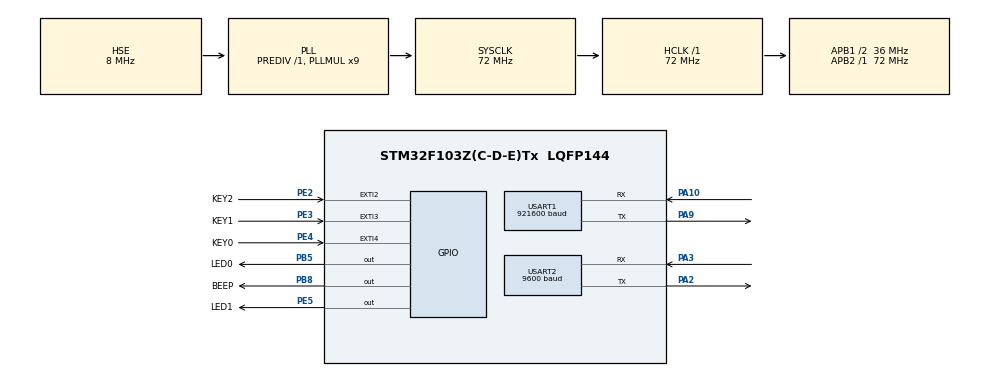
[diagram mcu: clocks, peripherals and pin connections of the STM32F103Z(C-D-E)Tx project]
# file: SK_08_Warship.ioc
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Mcu.Family=STM32F1
Mcu.Name=STM32F103Z(C-D-E)Tx
Mcu.Package=LQFP144
NVIC.EXTI2_IRQn=true\:1\:0\:true\:false\:true\:true\:true\:true
NVIC.EXTI3_IRQn=true\:1\:1\:true\:false\:true\:true\:true\:true
NVIC.EXTI4_IRQn=true\:1\:2\:true\:false\:true\:true\:true\:true
NVIC.PriorityGroup=NVIC_PRIORITYGROUP_2
NVIC.TIM2_IRQn=true\:0\:3\:false\:false\:true\:true\:true\:true
NVIC.TIM3_IRQn=true\:0\:3\:false\:false\:true\:true\:true\:true
NVIC.USART1_IRQn=true\:0\:2\:false\:false\:true\:true\:true\:true
NVIC.USART2_IRQn=true\:0\:1\:false\:false\:true\:true\:true\:true
OSC_IN.Mode=HSE-External-Oscillator
OSC_IN.Signal=RCC_OSC_IN
OSC_OUT.Mode=HSE-External-Oscillator
OSC_OUT.Signal=RCC_OSC_OUT
PA10.Mode=Asynchronous
PA10.Signal=USART1_RX
PA2.Mode=Asynchronous
PA2.Signal=USART2_TX
PA3.Mode=Asynchronous
PA3.Signal=USART2_RX
PA9.Mode=Asynchronous
PA9.Signal=USART1_TX
PB5.GPIO_Label=LED0
PB5.GPIO_Speed=GPIO_SPEED_FREQ_HIGH
PB5.PinState=GPIO_PIN_SET
PB5.Signal=GPIO_Output
PB8.GPIO_Label=BEEP
PB8.GPIO_Speed=GPIO_SPEED_FREQ_HIGH
PB8.Signal=GPIO_Output
PE2.GPIO_Label=KEY2
PE2.GPIO_ModeDefaultEXTI=GPIO_MODE_IT_FALLING
PE2.GPIO_PuPd=GPIO_PULLUP
PE2.Signal=GPXTI2
PE3.GPIO_Label=KEY1
PE3.GPIO_PuPd=GPIO_PULLUP
PE3.Signal=GPXTI3
PE4.GPIO_Label=KEY0
PE4.GPIO_PuPd=GPIO_PULLUP
PE4.Signal=GPXTI4
PE5.GPIO_Label=LED1
PE5.GPIO_Speed=GPIO_SPEED_FREQ_HIGH
PE5.PinState=GPIO_PIN_SET
PE5.Signal=GPIO_Output
ProjectManager.HeapSize=0x200
ProjectManager.StackSize=0x400
ProjectManager.TargetToolchain=MDK-ARM V5.32
RCC.AHBFreq_Value=72000000
RCC.APB1CLKDivider=RCC_HCLK_DIV2
RCC.APB1Freq_Value=36000000
RCC.APB1TimFreq_Value=72000000
RCC.APB2Freq_Value=72000000
RCC.APB2TimFreq_Value=72000000
RCC.HCLKFreq_Value=72000000
RCC.PLLMUL=RCC_PLL_MUL9
RCC.PLLSourceVirtual=RCC_PLLSOURCE_HSE
RCC.SYSCLKFreq_VALUE=72000000
RCC.SYSCLKSource=RCC_SYSCLKSOURCE_PLLCLK
RCC.USBFreq_Value=72000000
TIM2.AutoReloadPreload=TIM_AUTORELOAD_PRELOAD_ENABLE
TIM2.Period=4999
TIM2.Prescaler=1999
TIM3.Prescaler=1999
USART1.BaudRate=921600
USART1.VirtualMode=VM_ASYNC
USART2.BaudRate=9600
USART2.VirtualMode=VM_ASYNC
VP_SYS_VS_ND.Mode=No_Debug
VP_TIM2_VS_ClockSourceINT.Mode=Internal
VP_TIM3_VS_ClockSourceINT.Mode=Internal
board=custom

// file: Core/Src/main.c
/* USER CODE BEGIN Header */
/**
 ******************************************************************************
 * @file           : main.c
 * @brief          : Main program body
 ******************************************************************************
 * @attention
 *
 * Copyright (c) 2022 STMicroelectronics.
 * All rights reserved.
 *
 * This software is licensed under terms that can be found in the LICENSE file
 * in the root directory of this software component.
 * If no LICENSE file comes with this software, it is provided AS-IS.
 *
 ******************************************************************************
 */
/* USER CODE END Header */
#include "main.h"
#include "tim.h"
#include "usart.h"
#include "gpio.h"

/* USER CODE BEGIN Includes */
#include <stdio.h>
#include <string.h>

#define RXBUFFERSIZE 256     //最大接收字节数
char RxBuffer[RXBUFFERSIZE]; //接收数据
uint8_t aRxBuffer;           //接收中断缓冲
uint8_t Uart1_Rx_Cnt = 0;    //接收缓冲计数

uint8_t sk08_aRxBuffer;
char USART3_RX_BUF[RXBUFFERSIZE];
uint8_t str1[4] = {0x80, 0x06, 0x02, 0x78};
char fina_data1[5];
int finaldata1;

/* USER CODE END Includes */

void SystemClock_Config(void);

int main(void)
{

  /* MCU Configuration--------------------------------------------------------*/

  /* Reset of all peripherals, Initializes the Flash interface and the Systick. */
  HAL_Init();

  /* Configure the system clock */
  SystemClock_Config();

  /* Initialize all configured peripherals */
  MX_GPIO_Init();
  MX_USART1_UART_Init();
  MX_USART2_UART_Init();
  MX_TIM2_Init();
  MX_TIM3_Init();
  /* USER CODE BEGIN 2 */
  HAL_UART_Receive_IT(&huart1, (uint8_t *)&aRxBuffer, 1);
  HAL_UART_Receive_IT(&huart2, (uint8_t *)&sk08_aRxBuffer, 1);
  HAL_TIM_Base_Start_IT(&htim2);
  printf("--------------------------------------------------------------------\r\n");
  /* USER CODE END 2 */

  /* Infinite loop */
    while (1) {

    /* USER CODE BEGIN 3 */
        callback(200, BEEP_500MS_on, BEEP_500MS_off);
        HAL_Delay(5000);
    }
  /* USER CODE END 3 */
}

void SystemClock_Config(void)
{
  RCC_OscInitTypeDef RCC_OscInitStruct = {0};
  RCC_ClkInitTypeDef RCC_ClkInitStruct = {0};

  /** Initializes the RCC Oscillators according to the specified parameters
  * in the RCC_OscInitTypeDef structure.
  */
  RCC_OscInitStruct.OscillatorType = RCC_OSCILLATORTYPE_HSE;
  RCC_OscInitStruct.HSEState = RCC_HSE_ON;
  RCC_OscInitStruct.HSEPredivValue = RCC_HSE_PREDIV_DIV1;
  RCC_OscInitStruct.HSIState = RCC_HSI_ON;
  RCC_OscInitStruct.PLL.PLLState = RCC_PLL_ON;
  RCC_OscInitStruct.PLL.PLLSource = RCC_PLLSOURCE_HSE;
  RCC_OscInitStruct.PLL.PLLMUL = RCC_PLL_MUL9;
  if (HAL_RCC_OscConfig(&RCC_OscInitStruct) != HAL_OK)
  {
    Error_Handler();
  }

  /** Initializes the CPU, AHB and APB buses clocks
  */
  RCC_ClkInitStruct.ClockType = RCC_CLOCKTYPE_HCLK|RCC_CLOCKTYPE_SYSCLK
                              |RCC_CLOCKTYPE_PCLK1|RCC_CLOCKTYPE_PCLK2;
  RCC_ClkInitStruct.SYSCLKSource = RCC_SYSCLKSOURCE_PLLCLK;
  RCC_ClkInitStruct.AHBCLKDivider = RCC_SYSCLK_DIV1;
  RCC_ClkInitStruct.APB1CLKDivider = RCC_HCLK_DIV2;
  RCC_ClkInitStruct.APB2CLKDivider = RCC_HCLK_DIV1;

  if (HAL_RCC_ClockConfig(&RCC_ClkInitStruct, FLASH_LATENCY_2) != HAL_OK)
  {
    Error_Handler();
  }
}

/* USER CODE BEGIN 4 */
#ifdef __GNUC__
#define PUTCHAR_PROTOTYPE int _io_putchar(int ch)
#else
#define PUTCHAR_PROTOTYPE int fputc(int ch, FILE *f)
#endif /* __GNUC__*/

/******************************************************************
 *@brief  Retargets the C library printf  function to the USART.
 *@param  None
 *@retval None
 ******************************************************************/
PUTCHAR_PROTOTYPE
{
    HAL_UART_Transmit(&huart1, (uint8_t *)&ch, 1, 0xFFFF);
    return ch;
}

void HAL_UART_RxCpltCallback(UART_HandleTypeDef *huart)
{
    /* Prevent unused argument(s) compilation warning */
    UNUSED(huart);
    /* NOTE: This function Should not be modified, when the callback is needed,
             the HAL_UART_TxCpltCallback could be implemented in the user file
     */
    static uint8_t seri_count = 0;
    uint8_t check_sum         = 0;
    uint8_t i, x;

    static uint8_t uflag = 0;

    if (huart == &huart1) {
        if (Uart1_Rx_Cnt >= 255) //溢出判断
        {
            Uart1_Rx_Cnt = 0;
            memset(RxBuffer, 0x00, sizeof(RxBuffer));
            HAL_UART_Transmit(&huart1, (uint8_t *)"数据溢出", 10, 0xFFFF);
        } else {
            RxBuffer[Uart1_Rx_Cnt++] = aRxBuffer;                                             //接收数据转存
            if ((RxBuffer[Uart1_Rx_Cnt - 1] == 0x0A) && (RxBuffer[Uart1_Rx_Cnt - 2] == 0x0D)) //判断结束位
            {
                HAL_UART_Transmit(&huart1, (uint8_t *)&RxBuffer, Uart1_Rx_Cnt, 0xFFFF); //将收到的信息发送出去
                while (HAL_UART_GetState(&huart1) == HAL_UART_STATE_BUSY_TX)
                    ; //检测UART发送结束
                Uart1_Rx_Cnt = 0;
                memset(RxBuffer, 0x00, sizeof(RxBuffer)); //清空数组
            }
        }
        HAL_UART_Receive_IT(&huart1, (uint8_t *)&aRxBuffer, 1); //再开启接收中断
    }
    if (huart == &huart2) {
        if (sk08_aRxBuffer == 0x80) {
            uflag = 1;
        }
        if (uflag) {
            USART3_RX_BUF[seri_count++] = sk08_aRxBuffer;
            if (seri_count == 11) {
                if (USART3_RX_BUF[0] == 0x80) {
                    for (i = 0; i < 11 - 1; i++) {
                        check_sum += USART3_RX_BUF[i];
                        printf(" 0x%x", USART3_RX_BUF[i]);
                    }
                    printf(" 0x%x", USART3_RX_BUF[10]);
                    check_sum = ~check_sum + 1;
                    if (check_sum == USART3_RX_BUF[10]) {
                        fina_data1[0] = USART3_RX_BUF[4]; //十位数
                        fina_data1[1] = USART3_RX_BUF[5]; //个位数
                        // data[6]是小数点.
                        fina_data1[2] = USART3_RX_BUF[7];      //小数点后一位
                        fina_data1[3] = USART3_RX_BUF[8];      //小数点后两位
                        fina_data1[4] = USART3_RX_BUF[9];      //小数点后三位
                        sscanf(fina_data1, "%d", &finaldata1); //字符串转int
                        printf("距离值=%dmm\r\n", finaldata1); // print用串口1，串口2用来和激光模块通讯
                        /* code */
                        for (x = 0; x < 6; x++) {
                            fina_data1[x] = 0;
                        }
                    }
                    seri_count = 0;
                    uflag      = 0;
                }
            }
        }
        HAL_UART_Receive_IT(&huart2, (uint8_t *)&sk08_aRxBuffer, 1);
    }
}
void HAL_TIM_PeriodElapsedCallback(TIM_HandleTypeDef *htim)
{
    static unsigned char ledState = 0;
    if (htim == (&htim2)) {
        monitor();
        if (ledState == 0) {
            HAL_GPIO_WritePin(GPIOE, GPIO_PIN_5, GPIO_PIN_RESET);
            HAL_GPIO_WritePin(GPIOB, GPIO_PIN_5, GPIO_PIN_SET);
        } else {
            HAL_GPIO_WritePin(GPIOE, GPIO_PIN_5, GPIO_PIN_SET);
            HAL_GPIO_WritePin(GPIOB, GPIO_PIN_5, GPIO_PIN_RESET);
        }
        ledState = !ledState;
    }
}
int callback(int t1, int (*function1)(void), int (*function)(void))
{
    function1();
    HAL_Delay(t1);
    function();
    return 0;
}
char flag = 0;
int L1 = 0, L2 = 0, L3 = 0, L4 = 0, L5 = 0;
void monitor(void)
{
    char u = 0;
    printf(" L1=%d", L1);
    printf(" L2=%d", L2);
    printf(" L3=%d", L3);
    printf(" L4=%d", L4);
    printf(" L5=%d", L5);
    while (u == 0) {
        /* code */
        HAL_UART_Transmit(&huart2, (uint8_t *)str1, 4, 0xffff);
        u += 1;
        if (finaldata1 > 6000) {
            u = 0;
        }
    }
    if (flag == 0) {
        L1 = finaldata1;
    }
    if (flag == 1) {
        L2 = finaldata1;
    }
    if (flag == 2) {
        L3 = finaldata1;
    }
    if (flag == 3) {
        L4 = finaldata1;
    }
    if (flag == 4) {
        L5 = finaldata1;
    }
    if (L1 - L2 > 100 || L2 - L3 > 100 || L3 - L4 > 100 || L4 - L5 > 100) {
        /* code */
        printf("有人闯入\r\n");
    }
    flag++;
    if (flag == 5) {
        flag = 0;
    }
}
/* USER CODE END 4 */

void Error_Handler(void)
{
    __disable_irq();
    while (1) {
    }
}
